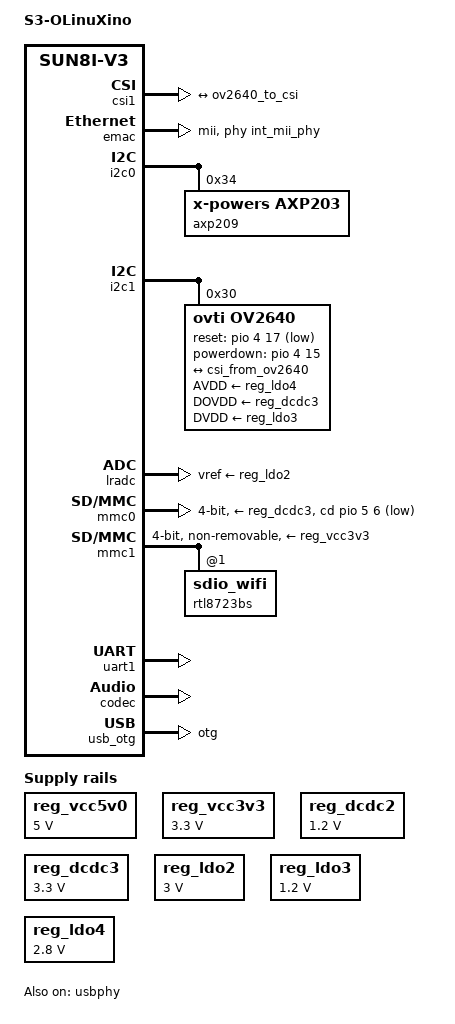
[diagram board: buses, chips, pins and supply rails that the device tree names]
// SPDX-License-Identifier: (GPL-2.0+ OR X11)
/*
 * Copyright 2021 Dimitar Gamishev <hehopmajieh@debian.bg>
 */

/dts-v1/;
#include "sun8i-v3.dtsi"
#include <dt-bindings/gpio/gpio.h>
#include <dt-bindings/input/input.h>
#include "sunxi-common-regulators.dtsi"

/ {
	model = "S3-OLinuXino";
	compatible = "olimex,s3-olinuxino", "sochip,s3", "allwinner,sun8i-v3";

	aliases {
		serial0 = &uart1;
	};

	chosen {
		stdout-path = "serial0:115200n8";
	};

	leds {
		compatible = "gpio-leds";


	};

	reg_vcc5v0: vcc5v0 {
		compatible = "regulator-fixed";
		regulator-name = "vcc5v0";
		regulator-min-microvolt = <5000000>;
		regulator-max-microvolt = <5000000>;
	};

	reg_vcc3v3: vcc3v3 {
                compatible = "regulator-fixed";
                regulator-name = "vcc3v3";
                regulator-min-microvolt = <3300000>;
                regulator-max-microvolt = <3300000>;
        };

};

&csi1 {
	pinctrl-names = "default";
	pinctrl-0 = <&csi1_8bit_pins>;
	status = "okay";

	port {
		#address-cells = <1>;
		#size-cells = <0>;

		csi1_ep: endpoint {
			remote-endpoint = <&ov5640_ep>;
			bus-width = <8>;
			hsync-active = <1>; /* Active high */
			vsync-active = <0>; /* Active low */
			data-active = <1>;  /* Active high */
			pclk-sample = <1>;  /* Rising */
		};
	};
};

&emac {
	phy-handle = <&int_mii_phy>;
	phy-mode = "mii";
	status = "okay";
};

&i2c0 {
	status = "okay";

	axp209: pmic@34 {
		compatible = "x-powers,axp203",
			     "x-powers,axp209";
		reg = <0x34>;
		interrupt-parent = <&gic>;
		interrupts = <GIC_SPI 32 IRQ_TYPE_LEVEL_HIGH>;
		interrupt-controller;
		#interrupt-cells = <1>;
	};
};

&i2c1 {
	pinctrl-names = "default";
	pinctrl-0 = <&i2c1_pe_pins>;
	status = "okay";
	ov2640: camera@30 {
	        compatible = "ovti,ov2640";
		reg = <0x30>;
		pinctrl-names = "default";
		pinctrl-0 = <&csi1_mclk_pin>;
		clocks = <&ccu CLK_CSI1_MCLK>;
		clock-names = "xvclk";
		assigned-clock-rates = <24000000>;
		reset-gpios = <&pio 4 17 GPIO_ACTIVE_LOW>;
		powerdown-gpios = <&pio 4 15 GPIO_ACTIVE_HIGH>;

		AVDD-supply = <&reg_ldo4>;
		DOVDD-supply = <&reg_dcdc3>;
		DVDD-supply = <&reg_ldo3>;

		port {
			ov2640_to_csi: endpoint {
				remote-endpoint = <&csi_from_ov2640>;
				hsync-active = <0>;
				vsync-active = <0>;
				bus-width = <10>;
				pclk-sample = <1>;
			};
		};
	};
};

&lradc {
	vref-supply = <&reg_ldo2>;
	status = "okay";

	button-200 {
		label = "Setup";
		linux,code = <KEY_SETUP>;
		channel = <0>;
		voltage = <190000>;
	};
};

&mmc0 {
	vmmc-supply = <&reg_dcdc3>;
	bus-width = <4>;
	cd-gpios = <&pio 5 6 GPIO_ACTIVE_LOW>;
	status = "okay";
};

&mmc1 {
        pinctrl-names = "default";
        pinctrl-0 = <&mmc1_pins>;
        vmmc-supply = <&reg_vcc3v3>;
        bus-width = <4>;
        non-removable;
        status = "okay";

        rtl8723bs: sdio_wifi@1 {
                reg = <1>;
        };
};

&pio {
	vcc-pd-supply = <&reg_dcdc3>;
	vcc-pe-supply = <&reg_ldo3>;
};

#include "axp209.dtsi"

&ac_power_supply {
	status = "okay";
};

&reg_dcdc2 {
	regulator-always-on;
	regulator-min-microvolt = <1200000>;
	regulator-max-microvolt = <1200000>;
	regulator-name = "vdd-sys-cpu-ephy";
};

&reg_dcdc3 {
	regulator-always-on;
	regulator-min-microvolt = <3300000>;
	regulator-max-microvolt = <3300000>;
	regulator-name = "vcc-3v3";
};

&reg_ldo1 {
	regulator-name = "vdd-rtc";
};

&reg_ldo2 {
	regulator-always-on;
	regulator-min-microvolt = <3000000>;
	regulator-max-microvolt = <3000000>;
	regulator-name = "avcc";
};

&reg_ldo3 {
	regulator-min-microvolt = <1200000>;
	regulator-max-microvolt = <1200000>;
	regulator-name = "avdd-dovdd-1v2-csi";
	regulator-always-on;
};

&reg_ldo4 {
	regulator-min-microvolt = <2800000>;
	regulator-max-microvolt = <2800000>;
	regulator-name = "dvdd-2v8-csi";
	regulator-always-on;
};

&spi0 {
	status = "disabled";

	flash@0 {
		#address-cells = <1>;
		#size-cells = <1>;
		compatible = "winbond,w25q128", "jedec,spi-nor";
		reg = <0>;
		spi-max-frequency = <40000000>;
	};
};

&csi1 {
       status = "okay";
       pinctrl-names = "default";
       pinctrl-0 = <&csi1_8bit_pins>;
       port {
            #address-cells = <1>;
            #size-cells = <0>;

            csi_from_ov2640: endpoint {
                           remote-endpoint = <&ov2640_to_csi>;
			   hsync-active = <0>;
			   vsync-active = <0>;
			   bus-width = <10>;
			   pclk-sample = <1>;
            };
       };
};

&uart1 {
        pinctrl-0 = <&uart1_pg_pins>;
        pinctrl-names = "default";
        status = "okay";
};

&codec {
	allwinner,audio-routing =
		"Headphone", "HP",
		"Headphone", "HPCOM",
		"MIC1", "Mic",
		"Mic",  "MBIAS";
	status = "okay";
};

&reg_usb0_vbus {
       gpio = <&pio 1 8 GPIO_ACTIVE_HIGH>;
       status = "okay";
       regulator-always-on;
};

&usb_otg {
	dr_mode = "otg";
	status = "okay";
};

&usbphy {
        usb0_id_det-gpios = <&pio 6 9 (GPIO_ACTIVE_HIGH | GPIO_PULL_UP)>;
        usb0_vbus-supply = <&reg_usb0_vbus>;
        usb0_vbus_det-gpios = <&pio 1 10 (GPIO_ACTIVE_HIGH | GPIO_PULL_DOWN)>; /* PB10 */

        status = "okay";
};
